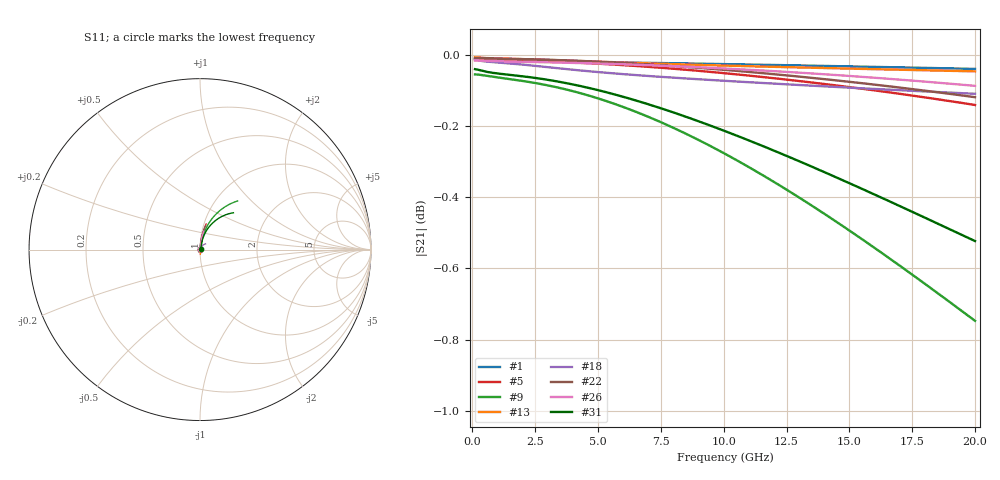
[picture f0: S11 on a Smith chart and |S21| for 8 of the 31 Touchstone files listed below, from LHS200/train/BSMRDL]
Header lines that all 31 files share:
! Touchstone file exported from HFSS 2026.1.0
!  Design:  BSMRDL
! Variables:
! Terminal data exported
# GHz S MA R 50.000000
Fixed: h_ox = 20um, h_rdl = 5um, h_sub = 80um, h_tmrdl = 5um, h_tsv = 80um, h_via = 3um, l_tmrdl = 200um, m_sub = 200um, r_tsv = 6um, s_tmrdl = 10um, w_sub = 500um, w_tmrdl = 12um, x_tsv_center1 = 206um
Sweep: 100 MHz to 20 GHz
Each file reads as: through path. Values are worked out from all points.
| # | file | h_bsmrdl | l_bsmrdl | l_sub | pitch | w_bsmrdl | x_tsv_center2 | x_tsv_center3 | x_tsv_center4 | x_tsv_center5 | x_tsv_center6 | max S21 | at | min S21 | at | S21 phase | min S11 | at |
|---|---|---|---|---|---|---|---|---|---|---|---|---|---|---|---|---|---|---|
| 1 | dut101.s2p | 2.17um | 100.97um | 500.97um | 28.79um | 25.84um | 332.81um | 544.81um | 671.62um | 883.62um | 1010.43um | -0.01 dB | 100 MHz | 0.0 dB | 20 GHz | -3 deg at 10.1 GHz | -59.2 dB | 100 MHz |
| 2 | dut102.s2p | 5.96um | 980.58um | 1380.58um | 17.32um | 14.56um | 1201.14um | 1413.14um | 2408.28um | 2620.28um | 3615.42um | -0.04 dB | 100 MHz | -0.6 dB | 20 GHz | -29 deg at 10.1 GHz | -47.4 dB | 100 MHz |
| 3 | dut103.s2p | 5.65um | 116.62um | 516.62um | 33.04um | 10.1um | 332.72um | 544.72um | 671.44um | 883.44um | 1010.16um | -0.01 dB | 100 MHz | -0.1 dB | 20 GHz | -5 deg at 10.1 GHz | -59.9 dB | 100 MHz |
| 4 | dut105.s2p | 4.2um | 830.67um | 1230.67um | 44.9um | 29.9um | 1066.57um | 1278.57um | 2139.14um | 2351.14um | 3211.71um | -0.02 dB | 100 MHz | -0.4 dB | 20 GHz | -26 deg at 10.1 GHz | -49.4 dB | 100 MHz |
| 5 | dut106.s2p | 2.99um | 114.58um | 514.58um | 41.37um | 10.85um | 331.43um | 543.43um | 668.86um | 880.86um | 1006.29um | -0.01 dB | 100 MHz | -0.1 dB | 20 GHz | -6 deg at 10.1 GHz | -55.6 dB | 100 MHz |
| 6 | dut107.s2p | 5.1um | 509.67um | 909.67um | 56.42um | 28.94um | 744.61um | 956.61um | 1495.22um | 1707.22um | 2245.83um | -0.01 dB | 100 MHz | -0.5 dB | 20 GHz | -18 deg at 10.1 GHz | -52.5 dB | 100 MHz |
| 7 | dut108.s2p | 3.19um | 972.33um | 1372.33um | 58.6um | 29.78um | 1208.11um | 1420.11um | 2422.22um | 2634.22um | 3636.33um | -0.03 dB | 100 MHz | -1.2 dB | 20 GHz | -34 deg at 10.1 GHz | -45.4 dB | 100 MHz |
| 8 | dut109.s2p | 2.09um | 767.41um | 1167.41um | 58.25um | 29.23um | 1002.64um | 1214.64um | 2011.28um | 2223.28um | 3019.92um | -0.04 dB | 100 MHz | -1.0 dB | 20 GHz | -28 deg at 10.1 GHz | -44.8 dB | 100 MHz |
| 9 | dut110.s2p | 2.84um | 503um | 903um | 27.78um | 10.11um | 719.11um | 931.11um | 1444.22um | 1656.22um | 2169.33um | -0.05 dB | 100 MHz | -0.7 dB | 20 GHz | -19 deg at 10.1 GHz | -43.6 dB | 100 MHz |
| 10 | dut111.s2p | 2.86um | 104um | 504um | 23.58um | 19.73um | 329.73um | 541.73um | 665.46um | 877.46um | 1001.19um | -0.01 dB | 100 MHz | 0.0 dB | 20 GHz | -3 deg at 10.1 GHz | -60.4 dB | 100 MHz |
| 11 | dut114.s2p | 5.99um | 124.86um | 524.86um | 56.02um | 20.17um | 351.03um | 563.03um | 708.06um | 920.06um | 1065.09um | 0.00 dB | 100 MHz | -0.1 dB | 20 GHz | -6 deg at 10.1 GHz | -60.9 dB | 100 MHz |
| 12 | dut115.s2p | 3.77um | 987.98um | 1387.98um | 23.02um | 20.64um | 1214.62um | 1426.62um | 2435.24um | 2647.24um | 3655.86um | -0.04 dB | 100 MHz | -0.5 dB | 20 GHz | -29 deg at 10.1 GHz | -46.3 dB | 100 MHz |
| 13 | dut116.s2p | 5.88um | 110.67um | 510.67um | 13.62um | 11.08um | 327.75um | 539.75um | 661.5um | 873.5um | 995.25um | -0.01 dB | 100 MHz | 0.0 dB | 20 GHz | -3 deg at 10.1 GHz | -62.9 dB | 100 MHz |
| 14 | dut118.s2p | 3.74um | 501.81um | 901.81um | 24.66um | 23.04um | 730.85um | 942.85um | 1467.7um | 1679.7um | 2204.55um | -0.02 dB | 100 MHz | -0.4 dB | 20 GHz | -16 deg at 10.1 GHz | -52.5 dB | 100 MHz |
| 15 | dut119.s2p | 3.7um | 974.97um | 1374.97um | 30.58um | 27.32um | 1208.29um | 1420.29um | 2422.58um | 2634.58um | 3636.87um | -0.03 dB | 100 MHz | -0.3 dB | 20 GHz | -28 deg at 10.1 GHz | -48.2 dB | 100 MHz |
| 16 | dut122.s2p | 4.57um | 984.83um | 1384.83um | 14.23um | 10.66um | 1201.49um | 1413.49um | 2408.98um | 2620.98um | 3616.47um | -0.06 dB | 100 MHz | -0.3 dB | 20 GHz | -27 deg at 10.1 GHz | -42.8 dB | 100 MHz |
| 17 | dut123.s2p | 2.08um | 107.75um | 507.75um | 59.07um | 27.08um | 340.83um | 552.83um | 687.66um | 899.66um | 1034.49um | -0.01 dB | 100 MHz | -0.1 dB | 20 GHz | -6 deg at 10.1 GHz | -57.2 dB | 100 MHz |
| 18 | dut124.s2p | 5.91um | 531.26um | 931.26um | 36.87um | 29.09um | 766.35um | 978.35um | 1538.7um | 1750.7um | 2311.05um | -0.01 dB | 100 MHz | -0.1 dB | 20 GHz | -15 deg at 10.1 GHz | -56.2 dB | 100 MHz |
| 19 | dut125.s2p | 5.94um | 339.28um | 739.28um | 44.45um | 10.7um | 555.98um | 767.98um | 1117.96um | 1329.96um | 1679.94um | -0.02 dB | 100 MHz | -0.5 dB | 20 GHz | -14 deg at 10.1 GHz | -51.4 dB | 100 MHz |
| 20 | dut127.s2p | 4.28um | 105.2um | 505.2um | 30.23um | 20.28um | 331.48um | 543.48um | 668.96um | 880.96um | 1006.44um | -0.01 dB | 100 MHz | 0.0 dB | 20 GHz | -4 deg at 10.1 GHz | -63.3 dB | 100 MHz |
| 21 | dut128.s2p | 4um | 649.84um | 1049.84um | 35.11um | 10.7um | 866.54um | 1078.54um | 1739.08um | 1951.08um | 2611.62um | -0.05 dB | 100 MHz | -1.2 dB | 20 GHz | -24 deg at 10.1 GHz | -44.2 dB | 100 MHz |
| 22 | dut129.s2p | 2.83um | 109.18um | 509.18um | 55.47um | 21.1um | 336.28um | 548.28um | 678.56um | 890.56um | 1020.84um | -0.01 dB | 100 MHz | -0.1 dB | 20 GHz | -6 deg at 10.1 GHz | -58.2 dB | 100 MHz |
| 23 | dut130.s2p | 3.32um | 603.23um | 1003.23um | 30.68um | 29.2um | 838.43um | 1050.43um | 1682.86um | 1894.86um | 2527.29um | -0.02 dB | 100 MHz | -0.5 dB | 20 GHz | -20 deg at 10.1 GHz | -51.6 dB | 100 MHz |
| 24 | dut131.s2p | 5.56um | 689.28um | 1089.28um | 19.07um | 15.99um | 911.27um | 1123.27um | 1828.54um | 2040.54um | 2745.81um | -0.03 dB | 100 MHz | -0.3 dB | 20 GHz | -20 deg at 10.1 GHz | -50.5 dB | 100 MHz |
| 25 | dut133.s2p | 2um | 980.38um | 1380.38um | 24.48um | 12.12um | 1198.5um | 1410.5um | 2403um | 2615um | 3607.5um | -0.12 dB | 100 MHz | -1.2 dB | 20 GHz | -32 deg at 10.1 GHz | -36.8 dB | 100 MHz |
| 26 | dut134.s2p | 2.01um | 107.64um | 507.64um | 32.11um | 13.66um | 327.3um | 539.3um | 660.6um | 872.6um | 993.9um | -0.02 dB | 100 MHz | -0.1 dB | 20 GHz | -5 deg at 10.1 GHz | -54.6 dB | 100 MHz |
| 27 | dut135.s2p | 2.2um | 337.29um | 737.29um | 38.18um | 10.9um | 554.19um | 766.19um | 1114.38um | 1326.38um | 1674.57um | -0.04 dB | 100 MHz | -0.6 dB | 20 GHz | -15 deg at 10.1 GHz | -45.2 dB | 100 MHz |
| 28 | dut136.s2p | 5.74um | 643.34um | 1043.34um | 58.79um | 17.75um | 867.09um | 1079.09um | 1740.18um | 1952.18um | 2613.27um | -0.02 dB | 100 MHz | -1.2 dB | 20 GHz | -25 deg at 10.1 GHz | -47.9 dB | 100 MHz |
| 29 | dut137.s2p | 3.15um | 359.78um | 759.78um | 53.1um | 15.16um | 580.94um | 792.94um | 1167.88um | 1379.88um | 1754.82um | -0.02 dB | 100 MHz | -0.7 dB | 20 GHz | -16 deg at 10.1 GHz | -49.0 dB | 100 MHz |
| 30 | dut138.s2p | 5.47um | 339.14um | 739.14um | 59.95um | 15.27um | 560.41um | 772.41um | 1126.82um | 1338.82um | 1693.23um | -0.01 dB | 100 MHz | -0.6 dB | 20 GHz | -15 deg at 10.1 GHz | -51.9 dB | 100 MHz |
| 31 | dut139.s2p | 3.06um | 626.85um | 1026.85um | 29.62um | 16.45um | 849.3um | 1061.3um | 1704.6um | 1916.6um | 2559.9um | -0.04 dB | 100 MHz | -0.5 dB | 20 GHz | -21 deg at 10.1 GHz | -46.1 dB | 100 MHz |
